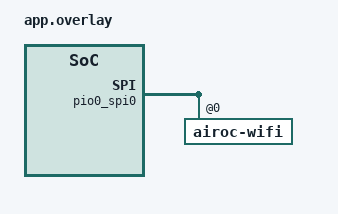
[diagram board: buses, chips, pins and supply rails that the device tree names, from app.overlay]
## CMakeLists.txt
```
cmake_minimum_required(VERSION 3.20.0)
find_package(Zephyr REQUIRED HINTS $ENV{ZEPHYR_BASE})
project(envhub_legacy_scan_probe)
target_sources(app PRIVATE src/main.c)
```

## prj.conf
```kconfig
CONFIG_BT=y
CONFIG_BT_OBSERVER=y
CONFIG_BT_EXT_ADV=n
CONFIG_BT_PRIVACY=n
CONFIG_BT_SETTINGS=n
CONFIG_NETWORKING=y
CONFIG_NET_IPV4=y
CONFIG_WIFI=y
CONFIG_NET_L2_WIFI_MGMT=y
CONFIG_NET_MGMT_EVENT=y
CONFIG_NET_MGMT_EVENT_INFO=y
CONFIG_MAIN_STACK_SIZE=4096
CONFIG_SYSTEM_WORKQUEUE_STACK_SIZE=4096
CONFIG_HEAP_MEM_POOL_SIZE=32768
CONFIG_HW_STACK_PROTECTION=y
CONFIG_HWINFO=y
CONFIG_LOG=y
CONFIG_LOG_MODE_IMMEDIATE=y
CONFIG_PRINTK=y
CONFIG_UART_CONSOLE_INPUT_EXPIRED=n
CONFIG_CDC_ACM_SERIAL_PRODUCT_STRING="EnvHub legacy scan diagnostic"
CONFIG_UDC_RPI_PICO_STACK_SIZE=2048
```

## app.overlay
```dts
&pio0_spi0 {
 airoc-wifi@0 {
  cyw43_bt_hci: cyw43_bt_hci {
   compatible = "infineon,cyw43-bt-hci";
   status = "okay";
  };
 };
};
/ { chosen { zephyr,bt-hci = &cyw43_bt_hci; }; };
```

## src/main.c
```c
/* SPDX-License-Identifier: MIT */
#include <zephyr/kernel.h>
#include <zephyr/bluetooth/bluetooth.h>
#include <zephyr/drivers/uart.h>
#include <zephyr/sys/atomic.h>
#include <pico/bootrom.h>

static const struct device *console = DEVICE_DT_GET(DT_CHOSEN(zephyr_console));
K_SEM_DEFINE(start_request, 0, 1);
static atomic_t reports, late_reports, timeouts;
static int64_t started;

static void received(const struct bt_le_scan_recv_info *info, struct net_buf_simple *data)
{
 ARG_UNUSED(info); ARG_UNUSED(data);
 atomic_inc(&reports);
 if (k_uptime_get() - started >= 3500) { atomic_inc(&late_reports); }
}
static void timed_out(void) { atomic_inc(&timeouts); }
static struct bt_le_scan_cb callbacks = {.recv = received, .timeout = timed_out};

/* Keep ROM recovery responsive independently of the scanner's thread. */
static void commands(void *a, void *b, void *c)
{
 ARG_UNUSED(a); ARG_UNUSED(b); ARG_UNUSED(c);
 while (!device_is_ready(console)) { k_sleep(K_MSEC(100)); }
 for (;;) {
  unsigned char ch;
  if (uart_poll_in(console, &ch) == 0) {
   if (ch == 'g') { k_sem_give(&start_request); }
   if (ch == 'r') { reset_usb_boot(0, 0); }
  }
  k_sleep(K_MSEC(10));
 }
}
K_THREAD_DEFINE(command_thread, 1536, commands, NULL, NULL, NULL, 1, 0, 0);

int main(void)
{
 bool enabled = false;
 for (;;) {
  printk("LEGACY_READY build=1 ext_adv=%d privacy=%d g=run r=rom\n",
         IS_ENABLED(CONFIG_BT_EXT_ADV), IS_ENABLED(CONFIG_BT_PRIVACY));
  if (k_sem_take(&start_request, K_SECONDS(2)) != 0) { continue; }
  if (!enabled) {
   int err = bt_enable(NULL);
   printk("LEGACY_ENABLE err=%d\n", err);
   if (err) { continue; }
   bt_le_scan_cb_register(&callbacks); enabled = true;
  }
  const uint16_t durations[] = {300, 0, 300};
  for (size_t i = 0; i < ARRAY_SIZE(durations); ++i) {
   struct bt_le_scan_param p = {
    .type=BT_LE_SCAN_TYPE_PASSIVE, .options=0,
    .interval=BT_GAP_SCAN_FAST_INTERVAL, .window=BT_GAP_SCAN_FAST_WINDOW,
    .timeout=durations[i],
   };
   atomic_set(&reports,0); atomic_set(&late_reports,0); atomic_set(&timeouts,0);
   started=k_uptime_get();
   int err=bt_le_scan_start(&p,NULL);
   printk("LEGACY_START case=%u timeout_units=%u err=%d\n", (unsigned)i,p.timeout,err);
   if (err) { continue; }
   for (int second=1; second<=6; ++second) {
    k_sleep(K_SECONDS(1));
    printk("LEGACY_SAMPLE case=%u elapsed_ms=%lld reports=%ld late=%ld callbacks=%ld\n",
           (unsigned)i,(long long)(k_uptime_get()-started),(long)atomic_get(&reports),
           (long)atomic_get(&late_reports),(long)atomic_get(&timeouts));
   }
   err=bt_le_scan_stop();
   k_sleep(K_MSEC(250));
   atomic_val_t stopped=atomic_get(&reports);
   k_sleep(K_MSEC(750));
   printk("LEGACY_RESULT case=%u timeout_units=%u reports=%ld late=%ld callbacks=%ld stop_err=%d post_stop=%ld\n",
          (unsigned)i,p.timeout,(long)atomic_get(&reports),(long)atomic_get(&late_reports),
          (long)atomic_get(&timeouts),err,(long)(atomic_get(&reports)-stopped));
  }
  printk("LEGACY_DONE\n");
 }
}
```
